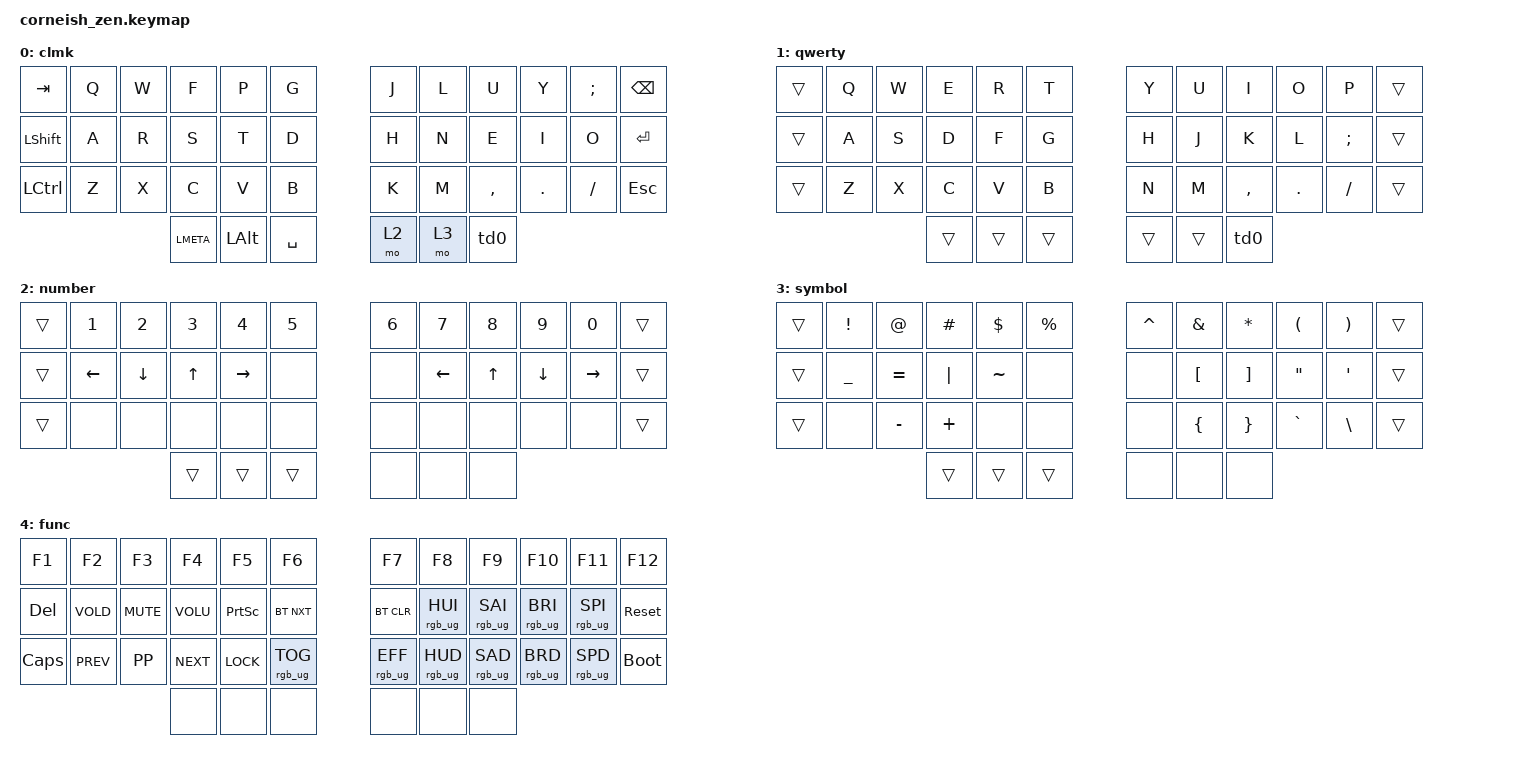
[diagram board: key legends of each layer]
/*
 * Copyright (c) 2020 The ZMK Contributors
 *
 * SPDX-License-Identifier: MIT
 */

#include <behaviors.dtsi>
#include <dt-bindings/zmk/bt.h>
#include <dt-bindings/zmk/ext_power.h>
#include <dt-bindings/zmk/keys.h>
#include <dt-bindings/zmk/outputs.h>
#include <dt-bindings/zmk/rgb.h>

/ {
    chosen {
        zmk,matrix_transform = &default_transform;
    };
};

/ {
    behaviors {
        td0: tap_dance_0 {
            label = "TD0";
            compatible = "zmk,behavior-tap-dance";
            #binding-cells = <0>;
            bindings = <&sl 4>, <&tog 1>;
        };
    };

    keymap {
        compatible = "zmk,keymap";
        
        base_layer {
            display-name = "clmk";

            bindings = <
&kp TAB    &kp Q  &kp W  &kp F      &kp P     &kp G          &kp J        &kp L    &kp U      &kp Y    &kp SEMI  &kp BSPC
&kp LSHFT  &kp A  &kp R  &kp S      &kp T     &kp D          &kp H        &kp N    &kp E      &kp I    &kp O     &kp ENTER
&kp LCTRL  &kp Z  &kp X  &kp C      &kp V     &kp B          &kp K        &kp M    &kp COMMA  &kp DOT  &kp FSLH  &kp ESC
                         &kp LMETA  &kp LALT  &kp SPACE      &mo 2        &mo 3    &td0
            >;
        };

        qwerty_layer {
            display-name = "qwerty";

            bindings = <
&trans  &kp Q  &kp W  &kp E  &kp R   &kp T   &kp Y     &kp U   &kp I      &kp O    &kp P     &trans
&trans  &kp A  &kp S  &kp D  &kp F   &kp G   &kp H     &kp J   &kp K      &kp L    &kp SEMI  &trans
&trans  &kp Z  &kp X  &kp C  &kp V   &kp B   &kp N     &kp M   &kp COMMA  &kp DOT  &kp FSLH  &trans
                                &trans  &trans  &trans    &trans  &trans     &td0
            >;
        };

        number_layer {
            display-name = "number";

            bindings = <
&trans  &kp N1    &kp N2    &kp N3    &kp N4     &kp N5  &kp N6   &kp N7    &kp N8  &kp N9    &kp N0     &trans
&trans  &kp LEFT  &kp DOWN  &kp UP    &kp RIGHT  &none   &none    &kp LEFT  &kp UP  &kp DOWN  &kp RIGHT  &trans
&trans  &none     &none     &none     &none      &none   &none    &none     &none   &none     &none      &trans
                            &trans    &trans     &trans  &none    &none     &none
            >;
        };

        symbol_layer {
            display-name = "symbol";

            bindings = <
&trans  &kp EXCL      &kp AT        &kp HASH  &kp DLLR    &kp PRCNT    &kp CARET  &kp AMPS  &kp ASTRK  &kp LPAR   &kp RPAR   &trans
&trans  &kp UNDER     &kp EQUAL     &kp PIPE  &kp TILDE   &none        &none      &kp LBKT  &kp RBKT   &kp DQT    &kp SQT    &trans
&trans  &none         &kp MINUS     &kp PLUS  &none       &none        &none      &kp LBRC  &kp RBRC   &kp GRAVE  &kp BSLH   &trans
                                    &trans    &trans      &trans       &none      &none     &none
            >;
        };

        function_layer {
            display-name = "func";
            bindings = <
&kp F1    &kp F2      &kp F3      &kp F4      &kp F5      &kp F6           &kp F7           &kp F8           &kp F9           &kp F10          &kp F11          &kp F12
&kp DEL   &kp VOLD    &kp K_MUTE  &kp VOLU    &kp PSCRN   &bt BT_NXT       &bt BT_CLR       &rgb_ug RGB_HUI  &rgb_ug RGB_SAI  &rgb_ug RGB_BRI  &rgb_ug RGB_SPI  &sys_reset
&kp CAPS  &kp K_PREV  &kp K_PP    &kp K_NEXT  &kp K_LOCK  &rgb_ug RGB_TOG  &rgb_ug RGB_EFF  &rgb_ug RGB_HUD  &rgb_ug RGB_SAD  &rgb_ug RGB_BRD  &rgb_ug RGB_SPD  &bootloader
                                &none       &none       &none            &none            &none            &none
            >;
        };
    };
};
